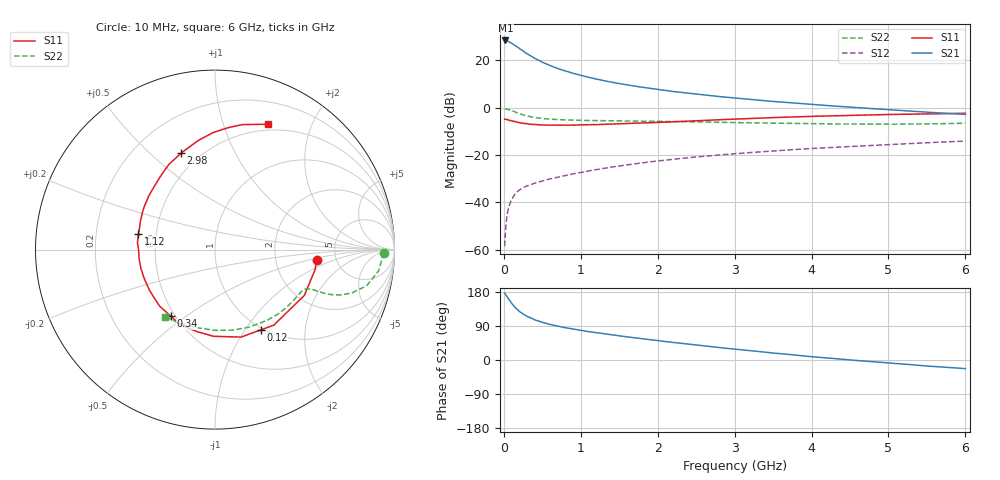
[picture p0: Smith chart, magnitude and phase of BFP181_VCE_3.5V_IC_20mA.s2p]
! Infineon Technologies  Discrete & RF Semiconductors
! BFP181
! VCE = 3.5 V,  IC =  20 mA
! Common Emitter S-Parameters:  Jan 2016
# GHz  S  MA  R  50
!  f  S11  S21  S12  S22
! GHz  MAG  ANG  MAG  ANG  MAG  ANG  MAG  ANG
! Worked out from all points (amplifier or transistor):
!   210 points, 10 MHz to 6 GHz, reference 50 ohm
!   highest |S21| = 28.3 dB at 20 MHz (marker M1)
!   |S21| within 3 dB of that: start of sweep to 186.3 MHz
!   unconditionally stable (mu >= 1): start of sweep to 15.4 MHz; 533.5 MHz to end of sweep
!   at 185 MHz: K = 0.51, MSG = 30.2 dB, |S12| = -35.2 dB
!   at 1.52 GHz: K = 1.39, MAG = 13.5 dB, |S12| = -24.5 dB
!   at 6 GHz: K = 1.08, MAG = 3.9 dB, |S12| = -14.1 dB
!   S11 on the Smith chart (normalised r, x): 10 MHz: 3.53, -0.58; 120 MHz: 0.97, -1.18; 340 MHz: 0.47, -0.44; 1.12 GHz: 0.40, +0.08; 2.98 GHz: 0.40, +0.63; 6 GHz: 0.43, +1.42
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0.01  0.5687 -5.6  25.86 176.4  0.0012 81.0  0.9391 -1.1
0.02  0.5691 -11.2  25.91 173.6  0.0023 78.3  0.9336 -2.8
0.05  0.5594 -27.1  25.15 164.0  0.0065 82.3  0.9193 -7.4
0.1  0.5334 -52.1  22.74 149.8  0.0115 68.7  0.868 -13.5
0.12  0.5149 -60.4  21.59 145.3  0.013 64.8  0.8408 -15.0
0.15  0.5085 -73.4  20.16 137.7  0.0154 60.5  0.8013 -17.5
0.2  0.4831 -91.0  17.72 128.5  0.0182 57.6  0.7459 -19.8
0.24  0.468 -101.9  15.87 122.7  0.02 55.2  0.7093 -20.8
0.3  0.4572 -116.7  13.66 115.4  0.0223 53.4  0.6644 -21.7
0.34  0.4454 -123.7  12.54 112.1  0.0235 53.0  0.6453 -21.9
0.4  0.4408 -134.7  10.95 106.0  0.0254 52.5  0.6166 -22.1
0.5  0.43 -147.9  9.015 99.2  0.0284 51.9  0.588 -22.2
0.6  0.4259 -157.9  7.69 93.8  0.0314 53.0  0.5697 -22.6
0.8  0.4258 -173.4  5.88 85.1  0.0368 54.9  0.5492 -23.6
1.02  0.4337 173.7  4.668 77.6  0.0434 56.3  0.5363 -25.6
1.12  0.435 168.5  4.275 74.4  0.0468 56.2  0.5326 -26.7
2.02  0.4865 134.5  2.374 50.7  0.0756 54.6  0.511 -39.4
2.98  0.5694 109.4  1.598 29.0  0.1058 48.5  0.4838 -56.4
3.1  0.5785 106.8  1.535 26.8  0.1094 47.6  0.4796 -58.8
4.1  0.658 89.4  1.135 7.1  0.1398 39.9  0.4553 -80.6
5.1  0.7166 76.5  0.879 -9.3  0.1686 32.3  0.446 -104.8
6  0.7579 67.1  0.716 -22.8  0.1965 24.6  0.4678 -126.5
